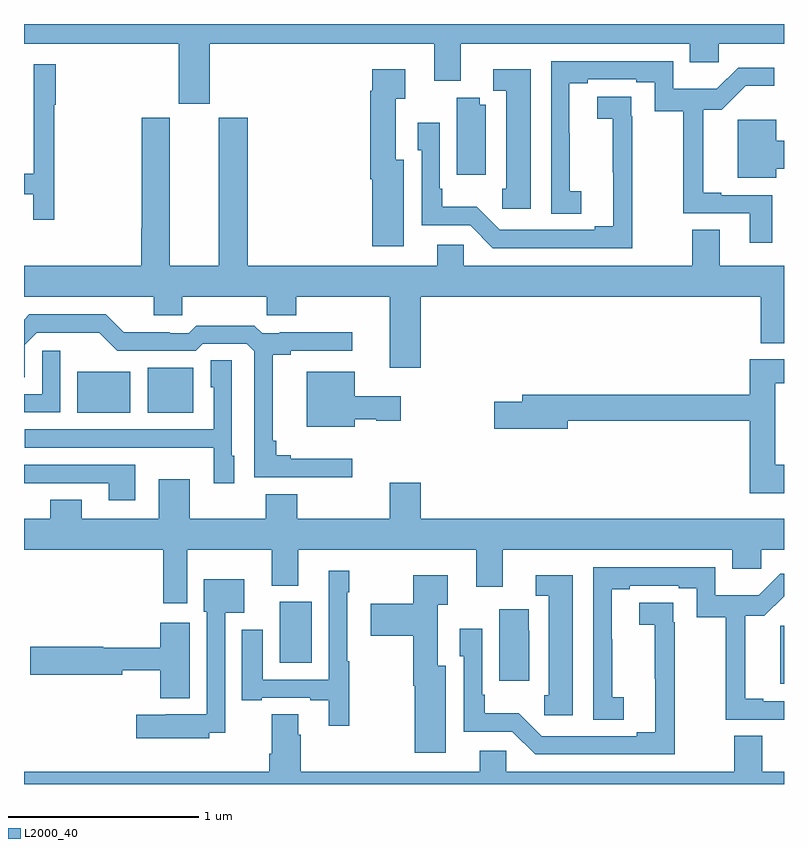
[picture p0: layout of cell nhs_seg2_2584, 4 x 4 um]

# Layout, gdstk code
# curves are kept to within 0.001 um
import gdstk
lib = gdstk.Library(unit=1e-6, precision=1e-09)
def R(c, l, rs):  # rectangles x0, y0, x1, y1
    for r in rs: c.add(gdstk.rectangle(r[:2], r[2:], *l))
def P(c, l, *ps):  # polygons
    for p in ps: c.add(gdstk.Polygon(p, *l))
L2000_40 = (2000, 40)

nhs_seg2_2584 = lib.new_cell('nhs_seg2_2584')
R(nhs_seg2_2584, L2000_40, [(250.979,584.327,251,584.632), (248.345,584.438,248.515,584.758), (247.28,585.755,247.558,585.97), (247.652,585.755,247.891,585.991)])
P(nhs_seg2_2584, L2000_40, [(247.978,587.696),(249.158,587.696),(249.158,587.502),(249.298,587.502),(249.298,587.696),(250.505,587.696),(250.505,587.598),(250.657,587.598),(250.657,587.696),(251,587.696),(251,587.8),(247,587.8),(247,587.696),(247.814,587.696),(247.814,587.379),(247.978,587.379)],
  [(250.937,586.899),(250.669,586.899),(250.669,586.912),(250.574,586.912),(250.574,587.349),(250.673,587.349),(250.799,587.474),(250.948,587.474),(250.948,587.571),(250.758,587.571),(250.645,587.458),(250.416,587.458),(250.416,587.604),(249.774,587.604),(249.774,586.801),(249.934,586.801),(249.934,586.921),(249.873,586.921),(249.873,587.225),(249.871,587.225),(249.871,587.488),(249.967,587.488),(249.967,587.508),(250.223,587.508),(250.223,587.494),(250.32,587.494),(250.32,587.341),(250.471,587.341),(250.471,586.803),(250.82,586.803),(250.82,586.65),(250.937,586.65)],
  [(247.159,587.374),(247.166,587.374),(247.166,587.587),(247.05,587.587),(247.05,587.013),(247,587.013),(247,586.905),(247.049,586.905),(247.049,586.77),(247.159,586.77)],
  [(248.998,587.086),(248.956,587.086),(248.956,587.407),(249.007,587.407),(249.007,587.563),(248.834,587.563),(248.834,587.45),(248.822,587.45),(248.822,586.982),(248.834,586.982),(248.834,586.629),(248.998,586.629)],
  [(249.667,587.563),(249.471,587.563),(249.471,587.448),(249.539,587.448),(249.539,586.932),(249.517,586.932),(249.517,586.827),(249.667,586.827)],
  [(250.202,587.315),(250.196,587.315),(250.196,587.417),(250.017,587.417),(250.017,587.302),(250.099,587.302),(250.1,586.736),(250.004,586.736),(250.004,586.716),(249.504,586.716),(249.383,586.837),(249.202,586.837),(249.202,586.933),(249.189,586.933),(249.189,587.281),(249.072,587.281),(249.072,587.136),(249.093,587.136),(249.093,586.74),(249.348,586.74),(249.468,586.62),(250.202,586.62)],
  [(249.43,587.374),(249.398,587.374),(249.398,587.411),(249.278,587.411),(249.278,587.007),(249.43,587.007)],
  [(249.088,586.364),(250.877,586.364),(250.877,586.121),(251,586.121),(251,586.528),(250.663,586.528),(250.663,586.718),(250.516,586.718),(250.516,586.528),(249.315,586.528),(249.315,586.638),(249.176,586.638),(249.176,586.528),(248.177,586.528),(248.177,587.307),(248.024,587.307),(248.024,586.528),(247.768,586.528),(247.768,587.307),(247.621,587.307),(247.621,586.724),(247.616,586.724),(247.616,586.528),(247,586.528),(247,586.364),(247.682,586.364),(247.682,586.266),(247.833,586.266),(247.833,586.364),(248.278,586.364),(248.278,586.266),(248.433,586.266),(248.433,586.364),(248.924,586.364),(248.924,585.99),(249.088,585.99)],
  [(250.96,587.039),(251,587.039),(251,587.186),(250.96,587.186),(250.96,587.296),(250.757,587.296),(250.757,586.991),(250.96,586.991)],
  [(248.728,585.511),(248.404,585.511),(248.404,585.53),(248.327,585.53),(248.327,585.607),(248.309,585.607),(248.309,586.058),(248.404,586.058),(248.404,586.08),(248.728,586.08),(248.728,586.178),(248.347,586.178),(248.347,586.173),(248.253,586.173),(248.213,586.213),(247.906,586.213),(247.866,586.173),(247.766,586.173),(247.766,586.178),(247.526,586.178),(247.431,586.272),(247.028,586.272),(247,586.244),(247,585.942),(247.005,585.942),(247.005,586.113),(247.068,586.176),(247.397,586.175),(247.491,586.08),(247.905,586.08),(247.941,586.116),(248.172,586.116),(248.211,586.077),(248.211,585.414),(248.728,585.414)],
  [(247.191,586.081),(247.095,586.081),(247.095,585.852),(247,585.852),(247,585.756),(247.191,585.756)],
  [(251,585.481),(250.954,585.481),(250.954,585.908),(251,585.908),(251,586.036),(250.82,586.036),(250.82,585.848),(249.623,585.848),(249.623,585.812),(249.474,585.812),(249.474,585.67),(249.862,585.67),(249.862,585.712),(250.82,585.712),(250.82,585.329),(251,585.329)],
  [(248.107,585.528),(248.094,585.528),(248.094,586.031),(247.982,586.031),(247.982,585.888),(247.998,585.888),(247.998,585.666),(247.003,585.666),(247.003,585.57),(247.681,585.57),(247.681,585.569),(247.998,585.569),(247.998,585.384),(248.107,585.384)],
  [(248.74,585.719),(248.853,585.719),(248.853,585.712),(248.983,585.712),(248.983,585.841),(248.74,585.841),(248.74,585.97),(248.489,585.97),(248.489,585.68),(248.74,585.68)],
  [(247.585,585.48),(247,585.48),(247,585.383),(247.015,585.383),(247.015,585.384),(247.445,585.384),(247.445,585.294),(247.585,585.294)],
  [(249.38,584.838),(249.52,584.838),(249.52,585.032),(250.727,585.032),(250.727,584.934),(250.879,584.934),(250.879,585.032),(251,585.032),(251,585.196),(249.088,585.196),(249.088,585.385),(248.924,585.385),(248.924,585.196),(248.437,585.196),(248.437,585.325),(248.273,585.325),(248.273,585.196),(247.873,585.196),(247.873,585.403),(247.709,585.403),(247.709,585.196),(247.303,585.196),(247.303,585.295),(247.139,585.295),(247.139,585.196),(247,585.196),(247,585.032),(247.733,585.032),(247.733,584.751),(247.858,584.751),(247.858,585.032),(248.303,585.032),(248.303,584.843),(248.443,584.843),(248.443,585.032),(249.38,585.032)],
  [(250.156,584.257),(250.095,584.257),(250.095,584.561),(250.093,584.561),(250.093,584.824),(250.189,584.824),(250.189,584.844),(250.445,584.844),(250.445,584.83),(250.542,584.83),(250.542,584.677),(250.693,584.677),(250.693,584.139),(251,584.139),(251,584.235),(250.891,584.235),(250.891,584.248),(250.796,584.248),(250.796,584.685),(250.895,584.685),(251,584.789),(251,584.907),(250.98,584.907),(250.867,584.794),(250.638,584.794),(250.638,584.94),(249.996,584.94),(249.996,584.137),(250.156,584.137)],
  [(248.713,584.446),(248.7,584.446),(248.7,584.81),(248.713,584.81),(248.713,584.923),(248.604,584.923),(248.604,584.349),(248.257,584.349),(248.257,584.611),(248.147,584.611),(248.147,584.241),(248.251,584.241),(248.251,584.253),(248.507,584.253),(248.507,584.241),(248.603,584.241),(248.603,584.106),(248.713,584.106)],
  [(249.22,584.422),(249.178,584.422),(249.178,584.743),(249.229,584.743),(249.229,584.899),(249.049,584.899),(249.049,584.749),(248.826,584.749),(248.826,584.579),(249.049,584.579),(249.049,584.318),(249.056,584.318),(249.056,583.965),(249.22,583.965)],
  [(249.889,584.899),(249.693,584.899),(249.693,584.791),(249.761,584.791),(249.761,584.268),(249.739,584.268),(249.739,584.163),(249.889,584.163)],
  [(247.974,584.069),(248.058,584.069),(248.058,584.702),(248.158,584.702),(248.158,584.878),(247.946,584.878),(247.946,584.706),(247.962,584.706),(247.962,584.166),(247.746,584.166),(247.746,584.164),(247.59,584.164),(247.59,584.042),(247.974,584.042)],
  [(250.424,584.651),(250.418,584.651),(250.418,584.753),(250.239,584.753),(250.239,584.638),(250.321,584.638),(250.322,584.072),(250.226,584.072),(250.226,584.052),(249.726,584.052),(249.605,584.173),(249.424,584.173),(249.424,584.269),(249.411,584.269),(249.411,584.617),(249.294,584.617),(249.294,584.472),(249.315,584.472),(249.315,584.076),(249.57,584.076),(249.69,583.956),(250.424,583.956)],
  [(249.658,584.606),(249.656,584.606),(249.656,584.719),(249.5,584.719),(249.5,584.343),(249.658,584.343)],
  [(247.873,584.65),(247.717,584.65),(247.717,584.516),(247.416,584.516),(247.416,584.522),(247.032,584.522),(247.032,584.375),(247.516,584.375),(247.516,584.398),(247.717,584.398),(247.717,584.252),(247.873,584.252)],
  [(251,583.864),(250.885,583.864),(250.885,584.054),(250.738,584.054),(250.738,583.864),(249.537,583.864),(249.537,583.974),(249.398,583.974),(249.398,583.864),(248.456,583.864),(248.456,584.06),(248.443,584.06),(248.443,584.168),(248.303,584.168),(248.303,583.96),(248.291,583.96),(248.291,583.864),(247,583.864),(247,583.8),(251,583.8)])

lib.write_gds('nhs_seg2_2584.gds')
